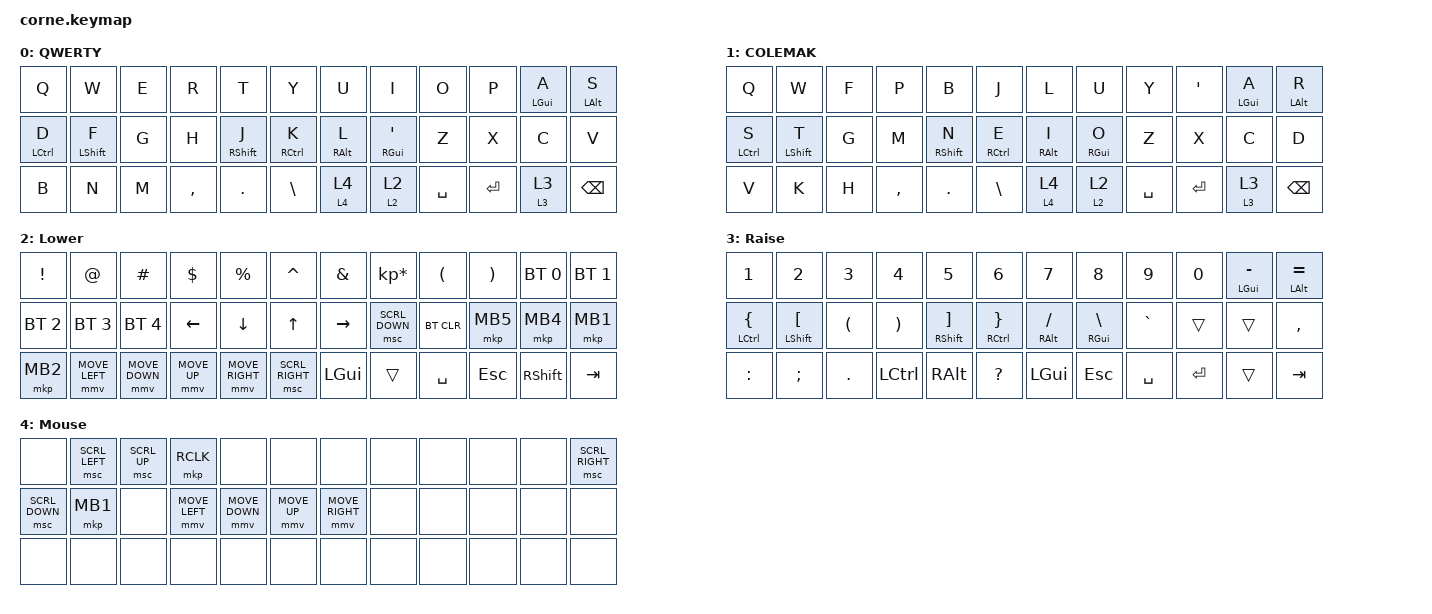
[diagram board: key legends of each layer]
/*
 * Copyright (c) 2020 The ZMK Contributors
 *
 * SPDX-License-Identifier: MIT
 */

#include <behaviors.dtsi>
#include <dt-bindings/zmk/bt.h>
#include <dt-bindings/zmk/keys.h>
#include <dt-bindings/zmk/pointing.h>

#define ZMK_POINTING_DEFAULT_MOVE_VAL 1200

//&msc msc {
//    compatible = "zmk,behavior-input-two-axis";
//    x-input-code = <INPUT_REL_HWHEEL>;
//    y-input-code = <INPUT_REL_WHEEL>;
//    time-to-max-speed-ms = <300>;
//    acceleration-exponent = <2>;
//};

&sl {
    release-after-ms = <2000>;
};

/ {
    chosen {
        zmk,physical-layout = &foostan_corne_5col_layout;
        #zmk,matrix-transform = &five_column_transform;
    };

    behaviors {
        as: auto_shift {
            compatible = "zmk,behavior-hold-tap";
            #binding-cells = <2>;
            tapping_term_ms = <200>;
            quick_tap_ms = <0>;
            flavor = "tap-preferred";
            bindings = <&kp>, <&kp>;
        };

        HMShiftR: HMShiftR {
            compatible = "zmk,behavior-hold-tap";
            label = "HMSHIFTR";
            bindings = <&kp>, <&kp>;

            #binding-cells = <2>;
            tapping-term-ms = <200>;
            hold-while-undecided;
            hold-trigger-on-release;
            hold-trigger-key-positions = <0 1 2 3 4 10 11 12 13 14 20 21 22 23 24 30 31 32>;
        };

        HMShiftL: HMShiftL {
            compatible = "zmk,behavior-hold-tap";
            label = "HMSHIFTL";
            bindings = <&kp>, <&kp>;

            #binding-cells = <2>;
            tapping-term-ms = <200>;
            hold-while-undecided;
            hold-trigger-on-release;
            hold-trigger-key-positions = <5 6 8 9 15 16 17 18 19 25 26 27 28 29 33 34 35 7>;
        };

        HMR: HMR {
            compatible = "zmk,behavior-hold-tap";
            label = "HMR";
            bindings = <&kp>, <&kp>;

            #binding-cells = <2>;
            tapping-term-ms = <200>;
            hold-trigger-on-release;
            hold-trigger-key-positions = <0 1 2 3 4 10 11 12 13 14 20 21 22 23 24 30 31 32 33 34 35>;
            flavor = "tap-preferred";
            quick-tap-ms = <175>;
            require-prior-idle-ms = <150>;
        };

        HMAltR: HMAltR {
            compatible = "zmk,behavior-hold-tap";
            label = "HMALTR";
            bindings = <&kp>, <&kp>;

            #binding-cells = <2>;
            tapping-term-ms = <200>;
            hold-while-undecided;
            hold-trigger-on-release;
            hold-trigger-key-positions = <0 1 2 3 4 10 11 12 13 14 20 21 22 23 24 30 31 32>;
        };

        HMCtrlR: HMCtrlR {
            compatible = "zmk,behavior-hold-tap";
            label = "HMCTRLR";
            bindings = <&kp>, <&kp>;

            #binding-cells = <2>;
            tapping-term-ms = <200>;
            hold-while-undecided;
            hold-trigger-on-release;
            hold-trigger-key-positions = <0 1 2 3 4 10 11 12 13 14 20 21 22 23 24 30 31 32>;
        };

        HMSuperR: HMSuperR {
            compatible = "zmk,behavior-hold-tap";
            label = "HMSUPERR";
            bindings = <&kp>, <&kp>;

            #binding-cells = <2>;
            tapping-term-ms = <200>;
            hold-while-undecided;
            hold-trigger-on-release;
            hold-trigger-key-positions = <0 1 2 3 4 10 11 12 13 14 20 21 22 23 24 30 31 32>;
        };

        HMCtrlL: HMCtrlL {
            compatible = "zmk,behavior-hold-tap";
            label = "HMCTRLL";
            bindings = <&kp>, <&kp>;

            #binding-cells = <2>;
            tapping-term-ms = <200>;
            hold-while-undecided;
            hold-trigger-on-release;
            hold-trigger-key-positions = <5 6 8 9 15 16 17 18 19 25 26 27 28 29 33 34 35 7>;
        };

        HMSuperL: HMSuperL {
            compatible = "zmk,behavior-hold-tap";
            label = "HMSUPERL";
            bindings = <&kp>, <&kp>;

            #binding-cells = <2>;
            tapping-term-ms = <200>;
            hold-while-undecided;
            hold-trigger-on-release;
            hold-trigger-key-positions = <5 6 8 9 15 16 17 18 19 25 26 27 28 29 33 34 35 7>;
        };

        HMAltL: HMAltL {
            compatible = "zmk,behavior-hold-tap";
            label = "HMALTL";
            bindings = <&kp>, <&kp>;

            #binding-cells = <2>;
            tapping-term-ms = <200>;
            hold-while-undecided;
            hold-trigger-on-release;
            hold-trigger-key-positions = <5 6 8 9 15 16 17 18 19 25 26 27 28 29 33 34 35 7>;
        };

        HML: HML {
            compatible = "zmk,behavior-hold-tap";
            label = "HML";
            bindings = <&kp>, <&kp>;

            #binding-cells = <2>;
            tapping-term-ms = <200>;
            hold-trigger-on-release;
            flavor = "balanced";
            hold-trigger-key-positions = <5 6 7 8 9 15 16 17 18 19 25 26 27 28 29 33 34 30 31 32 35>;
            quick-tap-ms = <175>;
            require-prior-idle-ms = <150>;
        };

        mouseTapHold: mouseTapHold {
            compatible = "zmk,behavior-hold-tap";
            label = "MOUSETAPHOLD";
            bindings = <&mmv>, <&mmv>;

            #binding-cells = <2>;
            tapping-term-ms = <210>;
            flavor = "tap-preferred";
            quick-tap-ms = <175>;
        };

        testeeee: testeeee {
            compatible = "zmk,behavior-hold-tap";
            label = "TESTEEEE";
            bindings = <&mmv>, <&mmv>;

            #binding-cells = <2>;
            tapping-term-ms = <200>;
            flavor = "balanced";
            hold-trigger-key-positions = <0 1 2 3 4 10 11 12 13 14 20 21 22 23 24 30 31 32 33 34 35>;
            quick-tap-ms = <175>;
            require-prior-idle-ms = <175>;
            hold-trigger-on-release;
        };

        mouseTapHoldV2: mouseTapHoldV2 {
            compatible = "zmk,behavior-hold-tap";
            label = "MOUSETAPHOLDV2";
            bindings = <&mmv>, <&mmv>;

            #binding-cells = <2>;
            tapping-term-ms = <200>;
            flavor = "tap-preferred";
        };

        layer_change: layer_change {
            compatible = "zmk,behavior-hold-tap";
            label = "LAYER_CHANGE";
            bindings = <&mo>, <&sl>;

            #binding-cells = <2>;
            tapping-term-ms = <150>;
            flavor = "tap-preferred";
        };
    };

    combos {
        compatible = "zmk,combos";

        mouseJumpLeft {
            bindings = <&mmv MOVE_X(-5000)>;
            key-positions = <10 15>;
            layers = <4>;
        };

        mouseJumpDown {
            bindings = <&mmv MOVE_Y(5000)>;
            key-positions = <16 10>;
            layers = <4>;
        };

        mouseJumpUp {
            bindings = <&mmv MOVE_Y(-5000)>;
            key-positions = <10 17>;
            layers = <4>;
        };

        mouseJumpRight {
            bindings = <&mmv MOVE_X(5000)>;
            key-positions = <10 18>;
            layers = <4>;
        };

        activate-colemakdh {
            bindings = <&tog 1>;
            key-positions = <0 9>;
            layers = <0>;
        };

        activate-qwerty {
            bindings = <&to 0>;
            key-positions = <0 9>;
            layers = <1>;
        };
    };

    keymap {
        compatible = "zmk,keymap";

        default_layer {
            // -----------------------------------------------------------------------------------------
            // |  Q  |  W  |  E  |  R  |  T  |     |  Y  |  U   |  I   |  O   | P |
            // |  A  |  S  |  D  |  F  |  G  |     |  H  |  J   |  K   |  L   | ' | 
            // |  Z  |  X  |  C  |  V  |  B  |     |  N  |  M   | CTRL | META | . |
            //             | GUI | LWR | SPC |     | ENT | RSE  | BSPC |

            display-name = "QWERTY";
            bindings = <
&kp Q         &kp W                   &kp E  &kp R      &kp T                    &kp Y            &kp U              &kp I               &kp O      &kp P    &HML LEFT_GUI A    &HML LEFT_ALT S
&HML LCTRL D  &HMShiftL LEFT_SHIFT F  &kp G  &kp H      &HMShiftR RIGHT_SHIFT J  &HMR RCTRL K     &HMR RIGHT_ALT L   &HMR RIGHT_GUI SQT  &kp Z      &kp X    &kp C              &kp V
&kp B         &kp N                   &kp M  &kp COMMA  &kp DOT                  &kp BACKSLASH    &layer_change 4 4  &layer_change 2 2   &kp SPACE  &kp RET  &layer_change 3 3  &kp BSPC
            >;
        };

        colemak_dh_layer {
            // -----------------------------------------------------------------------------------------
            // |  Q  |  W  |  F  |  P  |  B  |     |  J  |  L   |  U   |  Y   |  ; |
            // |  A  |  R  |  S  |  T  |  G  |     |  M  |  N   |  E   |  I   |  O |
            // |  Z  |  X  |  C  |  D  |  V  |     |  K  |  H   |  ,   |  .   |  / |
            //             | GUI | LWR | SPC |     | ENT | RSE  | BSPC |

            display-name = "COLEMAK";
            bindings = <
&kp Q         &kp W                   &kp F  &kp P      &kp B                    &kp J            &kp L              &kp U              &kp Y      &kp SQT  &HML LEFT_GUI A    &HML LEFT_ALT R
&HML LCTRL S  &HMShiftL LEFT_SHIFT T  &kp G  &kp M      &HMShiftR RIGHT_SHIFT N  &HMR RCTRL E     &HMR RIGHT_ALT I   &HMR RIGHT_GUI O   &kp Z      &kp X     &kp C              &kp D
&kp V         &kp K                   &kp H  &kp COMMA  &kp DOT                  &kp BACKSLASH    &layer_change 4 4  &layer_change 2 2  &kp SPACE  &kp RET   &layer_change 3 3  &kp BSPC
            >;
        };

        lower_layer {
            // -----------------------------------------------------------------------------------------
            // | !     |  @  |  #  |  $  |  %  |     |  ^  |  &  |  *  |  (  |  )  |
            // | BT1   | BT2 | BT3 | BT4 | BT5 |     | LFT | DWN |  UP | RGT |     |
            // | BTCLR |     |     |     |     |     |     |     |     |     |     |
            //               | GUI |     | SPC |     | ENT | ESC | TAB |

            display-name = "Lower";
            bindings = <
&kp EXCL      &kp AT          &kp HASH        &kp DLLR      &kp PRCNT        &kp CARET          &kp AMPS   &kp KP_MULTIPLY  &kp LPAR    &kp RPAR  &bt BT_SEL 0     &bt BT_SEL 1
&bt BT_SEL 2  &bt BT_SEL 3    &bt BT_SEL 4    &kp LEFT      &kp DOWN         &kp UP             &kp RIGHT  &msc SCRL_DOWN   &bt BT_CLR  &mkp MB5  &mkp MB4         &mkp MB1
&mkp MB2      &mmv MOVE_LEFT  &mmv MOVE_DOWN  &mmv MOVE_UP  &mmv MOVE_RIGHT  &msc SCRL_RIGHT    &kp LGUI   &trans           &kp SPACE   &kp ESC   &kp RIGHT_SHIFT  &kp TAB
            >;
        };

        raise_layer {
            // -----------------------------------------------------------------------------------------
            // | 1! |  2@ |  3# |  4$ |  5% |     |  6^ |  7& |  8* |  9(  |  0)  |
            // | -_ |  =+ |  {  |  [  |  (  |     |  )  |  ]  |  }  |  /?  |  \|  |
            // | `~ |     |     |  ,< |  :  |     |  ;  |  .> | CTRL| META |      |
            //            | GUI | ESC | SPC |     | ENT |     | TAB |

            display-name = "Raise";
            bindings = <
&kp N1           &kp N2                &kp N3                &kp N4                 &kp N5                          &kp N6                    &kp N7                    &kp N8               &kp N9     &kp N0   &HML LEFT_GUI MINUS  &HML LEFT_ALT EQUAL
&HML LCTRL LBRC  &HML LEFT_SHIFT LBKT  &kp LEFT_PARENTHESIS  &kp RIGHT_PARENTHESIS  &HMR RIGHT_SHIFT RIGHT_BRACKET  &HMR RCTRL RIGHT_BRACE    &HMShiftR RIGHT_ALT FSLH  &HMR RIGHT_GUI BSLH  &kp GRAVE  &trans   &trans               &kp COMMA
&kp COLON        &kp SEMI              &kp DOT               &kp LCTRL              &kp RALT                        &kp QUESTION              &kp LGUI                  &kp ESC              &kp SPACE  &kp RET  &trans               &kp TAB
            >;
        };

        mouseLayer {
            display-name = "Mouse";
            bindings = <
&none           &msc SCRL_LEFT  &msc SCRL_UP  &mkp RCLK       &none           &none           &none            &none  &none  &none  &none  &msc SCRL_RIGHT
&msc SCRL_DOWN  &mkp MB1        &none         &mmv MOVE_LEFT  &mmv MOVE_DOWN  &mmv MOVE_UP    &mmv MOVE_RIGHT  &none  &none  &none  &none  &none
&none           &none           &none         &none           &none           &none           &none            &none  &none  &none  &none  &none
            >;
        };
    };
};
